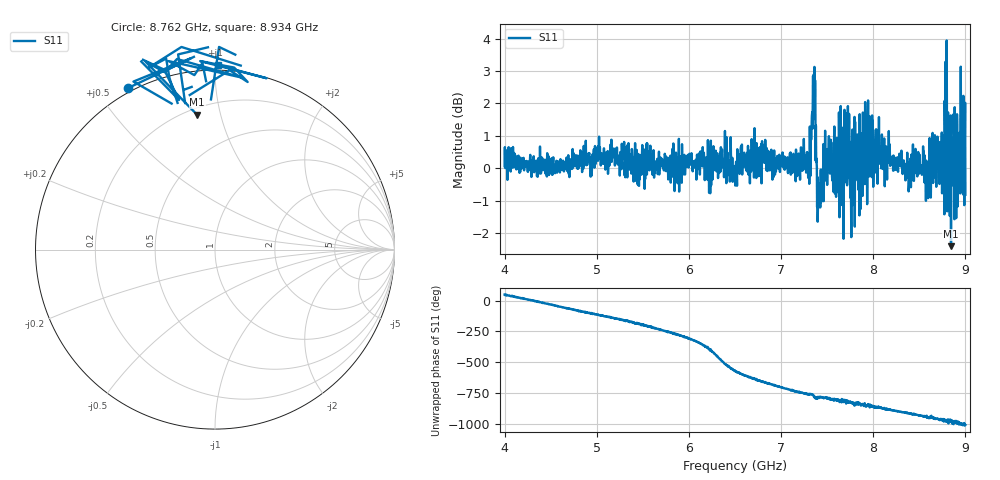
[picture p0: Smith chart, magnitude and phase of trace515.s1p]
! Created with skrf 1.8.0 (http://scikit-rf.org).
# Hz S RI R 50.0
!freq ReS11 ImS11
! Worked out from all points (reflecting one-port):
!   1601 points, 4 GHz to 9 GHz, reference 50 ohm
!   lowest |S11| = -2.4 dB at 8.844 GHz (marker M1), VSWR 7.25, Z = 12 + j42.3 ohm
!   phase of S11 starts at 49 deg and turns -1059 deg over the sweep
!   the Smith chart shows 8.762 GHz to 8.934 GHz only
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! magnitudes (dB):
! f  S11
! 4 GHz  0.1
! 4.625 GHz  -0.1
! 5.25 GHz  -0.2
! 5.875 GHz  0.3
! 6.409 GHz  1.0
! 6.5 GHz  0.0
! 6.806 GHz  0.3
! 7.125 GHz  0.0
! 7.294 GHz  -0.3
! 7.347 GHz  2.9
! 7.369 GHz  2.7
! 7.4 GHz  -1.2
! 7.412 GHz  -1.0
! 7.519 GHz  1.0
! 7.575 GHz  0.9
! 7.672 GHz  1.1
! 7.75 GHz  -0.9
! 7.775 GHz  1.2
! 7.822 GHz  -0.2
! 7.962 GHz  1.6
! 8.375 GHz  0.0
! 8.444 GHz  -0.2
! 8.603 GHz  -0.2
! 8.766 GHz  0.6
! 8.8 GHz  1.0
! 8.844 GHz  -2.4
! 8.972 GHz  -0.1
! 9 GHz  -0.8
